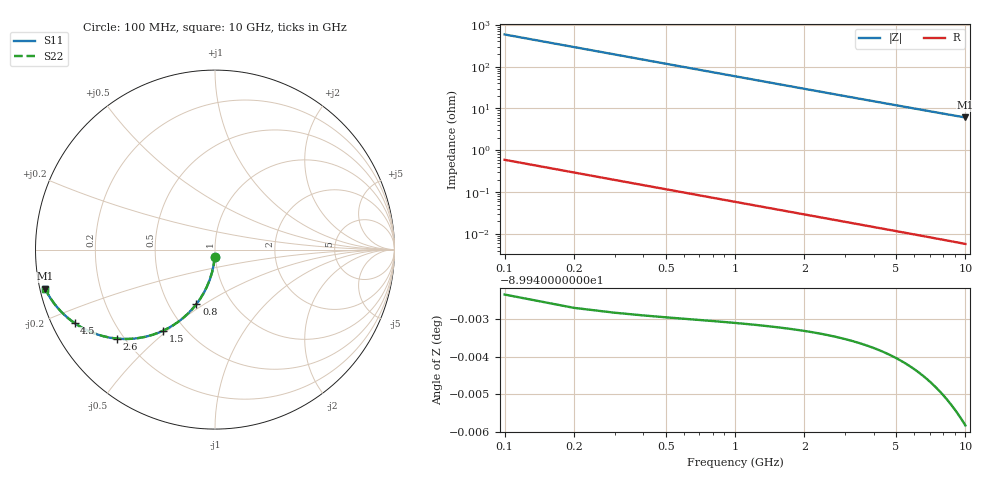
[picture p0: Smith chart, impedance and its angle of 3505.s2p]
# Hz S RI R 50.00
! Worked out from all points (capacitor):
!   100 points, 100 MHz to 10 GHz, reference 50 ohm
!   read as one part in shunt: C = 2.7 pF near 100 MHz
!   lowest |Z| = 6.09 ohm at 10 GHz (marker M1)
!   S11 on the Smith chart (normalised r, x): 100 MHz: 0.99, -0.08; 800 MHz: 0.68, -0.46; 1.5 GHz: 0.38, -0.48; 2.6 GHz: 0.17, -0.38; 4.5 GHz: 0.07, -0.24; 10 GHz: 0.01, -0.11
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1e8  -0.00183 -0.0423  0.9981 -0.0424  0.9981 -0.0424  -0.00183 -0.0423
2e8  -0.00723 -0.0841  0.9928 -0.0844  0.9928 -0.0844  -0.00723 -0.0841
3e8  -0.0161 -0.1251  0.9839 -0.1254  0.9839 -0.1254  -0.0161 -0.1251
4e8  -0.0281 -0.1647  0.9718 -0.1652  0.9718 -0.1652  -0.0281 -0.1647
5e8  -0.0432 -0.2026  0.9567 -0.2032  0.9567 -0.2032  -0.0432 -0.2026
6e8  -0.061 -0.2386  0.9389 -0.2393  0.9389 -0.2393  -0.061 -0.2386
8e8  -0.1034 -0.3036  0.8965 -0.3046  0.8965 -0.3046  -0.1034 -0.3036
9e8  -0.1273 -0.3323  0.8726 -0.3334  0.8726 -0.3334  -0.1273 -0.3323
1.1e9  -0.1788 -0.382  0.8212 -0.3834  0.8212 -0.3834  -0.1788 -0.382
1.3e9  -0.233 -0.4214  0.767 -0.423  0.767 -0.423  -0.233 -0.4214
1.5e9  -0.2877 -0.4513  0.7123 -0.4531  0.7123 -0.4531  -0.2877 -0.4513
1.8e9  -0.3674 -0.4805  0.6326 -0.4827  0.6326 -0.4827  -0.3674 -0.4805
2.2e9  -0.464 -0.4968  0.536 -0.4996  0.536 -0.4996  -0.464 -0.4968
2.6e9  -0.5469 -0.4957  0.4531 -0.4989  0.4531 -0.4989  -0.5469 -0.4957
3e9  -0.616 -0.484  0.384 -0.4877  0.384 -0.4877  -0.616 -0.484
3.4e9  -0.6729 -0.4665  0.3271 -0.4708  0.3271 -0.4708  -0.6729 -0.4665
3.9e9  -0.7299 -0.441  0.2701 -0.446  0.2701 -0.446  -0.7299 -0.441
4.5e9  -0.7822 -0.4094  0.2178 -0.4151  0.2178 -0.4151  -0.7822 -0.4094
5.1e9  -0.8216 -0.3791  0.1784 -0.3856  0.1784 -0.3856  -0.8216 -0.3791
6.7e9  -0.888 -0.3105  0.1119 -0.3191  0.1119 -0.3191  -0.888 -0.3105
8.4e9  -0.9257 -0.2562  0.0742 -0.2671  0.0742 -0.2671  -0.9257 -0.2562
1e10  -0.9465 -0.218  0.0534 -0.231  0.0534 -0.231  -0.9465 -0.218
